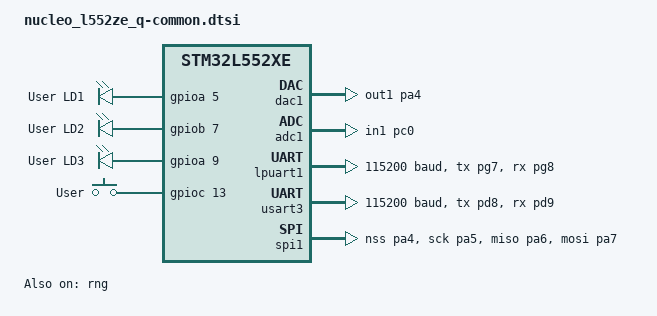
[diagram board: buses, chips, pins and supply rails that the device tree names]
/*
 * Copyright (c) 2020 Linaro Limited
 *
 * SPDX-License-Identifier: Apache-2.0
 */

#include <st/l5/stm32l552Xe.dtsi>
#include <st/l5/stm32l552z(c-e)txq-pinctrl.dtsi>
#include "arduino_r3_connector.dtsi"

/ {
	leds {
		compatible = "gpio-leds";
		green_led_1: led_1 {
			gpios = <&gpioa 5 GPIO_ACTIVE_HIGH>;
			label = "User LD1";
		};
		blue_led_1: led_2 {
			gpios = <&gpiob 7 GPIO_ACTIVE_HIGH>;
			label = "User LD2";
		};
		red_led_1: led_3 {
			gpios = <&gpioa 9 GPIO_ACTIVE_HIGH>;
			label = "User LD3";
		};
	};

	gpio_keys {
		compatible = "gpio-keys";
		user_button: button {
			label = "User";
			gpios = <&gpioc 13 GPIO_ACTIVE_HIGH>;
		};
	};
};

&clk_msi {
	status = "okay";
	msi-range = <6>;
};

&pll {
	div-m = <1>;
	mul-n = <55>;
	div-p = <7>;
	div-q = <2>;
	div-r = <2>;
	clocks = <&clk_msi>;
	status = "okay";
};

&rcc {
	clocks = <&pll>;
	clock-frequency = <DT_FREQ_M(110)>;
	ahb-prescaler = <1>;
	apb1-prescaler = <1>;
	apb2-prescaler = <1>;
};

&rng {
	status = "okay";
};

&dac1 {
	status = "okay";
	pinctrl-0 = <&dac1_out1_pa4>;
	pinctrl-names = "default";
};

&adc1 {
	pinctrl-0 = <&adc1_in1_pc0>;
	pinctrl-names = "default";
	status = "okay";
};

&lpuart1 {
	pinctrl-0 = <&lpuart1_tx_pg7 &lpuart1_rx_pg8>;
	pinctrl-names = "default";
	current-speed = <115200>;
	status = "okay";
};

&usart3 {
	pinctrl-0 = <&usart3_tx_pd8 &usart3_rx_pd9>;
	pinctrl-names = "default";
	current-speed = <115200>;
	status = "okay";
};

&spi1 {
	pinctrl-0 = <&spi1_nss_pa4 &spi1_sck_pa5
			&spi1_miso_pa6 &spi1_mosi_pa7>;
	pinctrl-names = "default";
	status = "okay";
};
